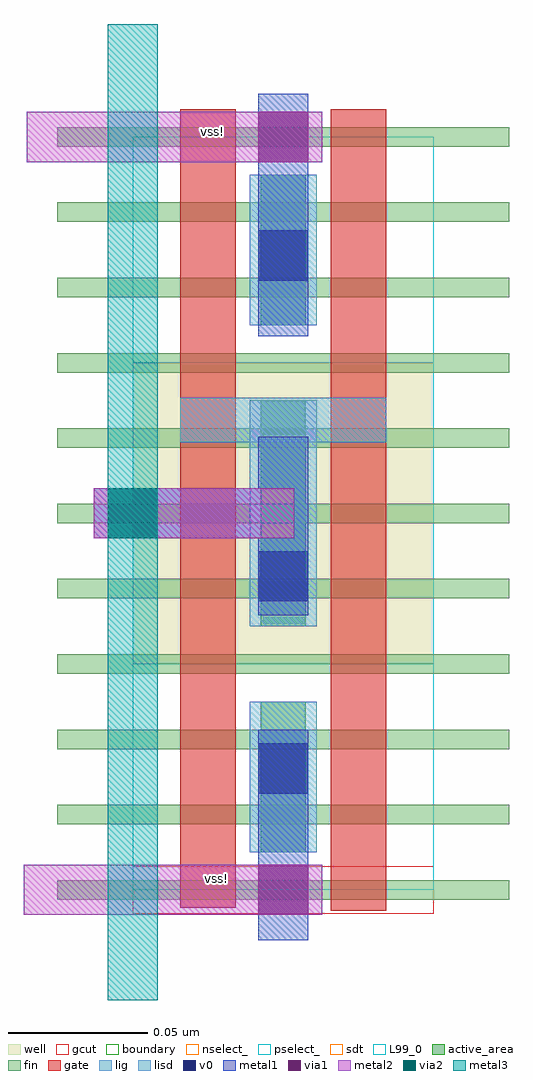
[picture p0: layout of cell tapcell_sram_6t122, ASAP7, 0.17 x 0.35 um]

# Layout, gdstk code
import gdstk
lib = gdstk.Library(unit=1e-6, precision=2.5e-10)
def R(c, l, rs):  # rectangles x0, y0, x1, y1
    for r in rs: c.add(gdstk.rectangle(r[:2], r[2:], *l))
def A(c, l, x, y, w, h, nx, ny, dx, dy):  # array of equal rectangles
    R(c, l, [(x+i*dx, y+j*dy, x+i*dx+w, y+j*dy+h) for i in range(nx) for j in range(ny)])
well = (1, 0)
fin = (2, 0)
gate = (7, 0)
gcut = (10, 0)
active_area = (11, 0)
nselect_ = (12, 0)
pselect_ = (13, 0)
lig = (16, 0)
lisd = (17, 0)
v0 = (18, 0)
metal1 = (19, 0)
metal2 = (20, 0)
via1 = (21, 0)
via2 = (25, 0)
metal3 = (30, 0)
sdt = (88, 0)
L99_0 = (99, 0)
boundary = (100, 0)

tapcell_sram_6t122 = lib.new_cell('tapcell_sram_6t122')
R(tapcell_sram_6t122, well, [(0,0.081,0.108,0.189)])
A(tapcell_sram_6t122, fin, -0.027, -0.0035, 0.162, 0.007, 1, 11, 0, 0.027)
R(tapcell_sram_6t122, gate, [(0.071,-0.0075,0.091,0.28), (0.017,-0.0065,0.037,0.28)])
R(tapcell_sram_6t122, gcut, [(0,-0.0085,0.108,0.0085)])
R(tapcell_sram_6t122, active_area, [(0.046,0.0135,0.062,0.0675), (0.046,0.0945,0.062,0.1755), (0.046,0.2025,0.062,0.2565)])
R(tapcell_sram_6t122, nselect_, [(0,0.081,0.108,0.189), (0,0.081,0.108,0.189)])
R(tapcell_sram_6t122, pselect_, [(0,0,0.108,0.081), (0,0,0.108,0.081), (0,0.189,0.108,0.27), (0,0.189,0.108,0.27)])
R(tapcell_sram_6t122, lig, [(0.017,0.1605,0.054,0.1765), (0.054,0.1605,0.091,0.1765)])
R(tapcell_sram_6t122, lisd, [(0.042,0.0135,0.066,0.0675), (0.042,0.0945,0.066,0.1755), (0.042,0.2025,0.066,0.2565)])
R(tapcell_sram_6t122, v0, [(0.045,0.0345,0.063,0.0525), (0.045,0.0345,0.063,0.0525), (0.045,0.1035,0.063,0.1215), (0.045,0.2185,0.063,0.2365), (0.045,0.2185,0.063,0.2365)])
R(tapcell_sram_6t122, metal1, [(0.045,-0.018,0.063,0.0575), (0.045,0.0985,0.063,0.1625), (0.045,0.1075,0.063,0.1625), (-0.014,0.126,0.053,0.144), (0.045,0.1985,0.063,0.2855)])
R(tapcell_sram_6t122, metal2, [(-0.039,-0.009,0.068,0.009), (-0.014,0.126,0.058,0.144), (-0.038,0.261,0.068,0.279)])
R(tapcell_sram_6t122, via1, [(0.045,-0.009,0.063,0.009), (0.045,-0.009,0.063,0.009), (0.045,0.261,0.063,0.279), (0.045,0.261,0.063,0.279)])
R(tapcell_sram_6t122, via2, [(-0.009,0.126,0.009,0.144)])
R(tapcell_sram_6t122, metal3, [(-0.009,-0.0395,0.009,0.3105)])
R(tapcell_sram_6t122, sdt, [(0.042,0.0135,0.066,0.0675), (0.042,0.0945,0.066,0.1755), (0.042,0.2025,0.066,0.2565)])
R(tapcell_sram_6t122, L99_0, [(0,0,0.108,0.27), (0,0,0.108,0.27)])
R(tapcell_sram_6t122, boundary, [(0,0,0.108,0.27)])
tapcell_sram_6t122.add(gdstk.Label('vss!', (0.03,0.004), layer=20, texttype=251))
tapcell_sram_6t122.add(gdstk.Label('vss!', (0.0285,0.272), layer=20, texttype=251))

lib.write_gds('tapcell_sram_6t122.gds')
